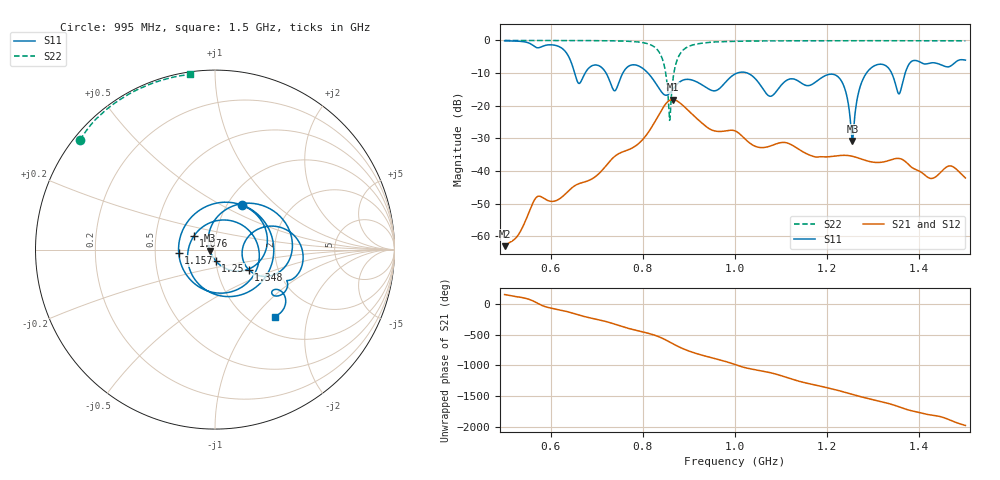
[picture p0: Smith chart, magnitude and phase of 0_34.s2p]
! TOUCHSTONE file generated by CST MICROWAVE STUDIO
! Date and time: Sat Oct 24 10:47:26 2020
! Project name: Scenario_1_Planar_Body_Tissue_Center.cst
! Parameters = {hfat=3; hmuscle=50; hskin=1.5; hgap=25; Wtissue=700; Ltissue=700; L_HA=400; MT=2.54; Rad_Dielectric=30; Rad_Lower=7.3; Rad_Upper=30; a_HA=580; a_WG=246; b_HA=500; b_WG=121; c_HA=0; c_WG=187; d_feed=85; dx1=744.56; h_feed=15; h_lower=18; h_upper=40}
! Header version: 2018
! Port assignment regex: !\s*Touchstone port\s*([0-9]+)\s*=\s*(CST MWS port|CST DS port)\s*([0-9]+|Zmin|Zmax)\s*\(\"(.*)\"\)(\s*mode\s*([0-9]+))?.*
! Touchstone port assignment:
! Touchstone port 1 = CST MWS port 1 ("")
! Touchstone port 2 = CST MWS port 2 ("")
# GHz S DB R 50
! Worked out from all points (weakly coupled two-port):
!   1003 points, 500 MHz to 1.5 GHz, reference 50 ohm
!   highest |S21| = -18.11 dB at 865 MHz (marker M1); lowest = -63.0 dB at 500 MHz (marker M2)
!   lowest |S11| = -30.8 dB at 1.255 GHz (marker M3), VSWR 1.06, Z = 47.3 - j0.579 ohm
!   |S11| at or under -10 dB: 720.2 MHz to 756.5 MHz (36.35 MHz wide, 4.92 % of centre); 811.1 MHz to 1.005 GHz (193.5 MHz wide, 21.3 % of centre); 1.027 GHz to 1.285 GHz (258.2 MHz wide, 22.3 % of centre)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
!   |S22| runs from -24.5 to 0.0 dB; largest |S21 - S12| = 1.4e-05
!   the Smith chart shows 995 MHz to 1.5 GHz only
!   S11 on the Smith chart (normalised r, x): 995 MHz: 1.16, +0.63; 1.076 GHz: 0.78, +0.12; 1.157 GHz: 0.66, -0.03; 1.25 GHz: 1.00, -0.13; 1.348 GHz: 1.42, -0.33; 1.5 GHz: 1.28, -1.27
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0.5  -0.13 -121.5  -63.01 160.6  -63.01 160.6  -0.01 151.2
0.606  -1.40 -178.7  -49.27 -70.2  -49.27 -70.2  -0.02 143.7
0.667  -12.24 166.9  -43.60 172.8  -43.60 172.8  -0.04 138.4
0.734  -14.57 13.4  -36.15 47.8  -36.15 47.8  -0.12 130.3
0.773  -7.62 166.6  -33.21 -41.8  -33.21 -41.8  -0.29 122.3
0.834  -14.45 -9.1  -22.94 -167.7  -22.94 -167.7  -3.29 84.5
0.865  -14.98 -168.4  -18.11 75.6  -18.11 75.6  -12.30 -137.0
0.898  -11.91 60.7  -21.36 -38.0  -21.36 -38.0  -1.93 169.7
0.942  -14.81 -84.1  -26.85 -139.2  -26.85 -139.2  -0.63 151.0
0.995  -10.74 59.2  -27.52 108.2  -27.52 108.2  -0.29 141.0
1  -10.30 43.5  -27.70 95.1  -27.70 95.1  -0.27 140.3
1.076  -17.10 147.7  -32.37 -36.8  -32.37 -36.8  -0.14 131.9
1.115  -12.00 -11.4  -31.48 -124.1  -31.48 -124.1  -0.11 128.4
1.157  -13.85 -174.6  -34.82 148.2  -34.82 148.2  -0.10 125.0
1.167  -13.48 144.9  -35.39 131.4  -35.39 131.4  -0.10 124.2
1.224  -11.17 -5.0  -35.30 31.4  -35.30 31.4  -0.09 119.9
1.25  -24.00 -86.3  -35.34 -23.2  -35.34 -23.2  -0.08 117.9
1.255  -30.83 -167.7  -35.49 -33.9  -35.49 -33.9  -0.08 117.5
1.283  -10.48 59.0  -36.74 -90.2  -36.74 -90.2  -0.08 115.4
1.334  -8.62 -20.8  -36.78 176.3  -36.77 176.3  -0.09 111.5
1.348  -13.25 -30.7  -36.20 144.4  -36.20 144.4  -0.09 110.5
1.5  -6.03 -48.3  -42.12 178.7  -42.12 178.7  -0.13 98.0
